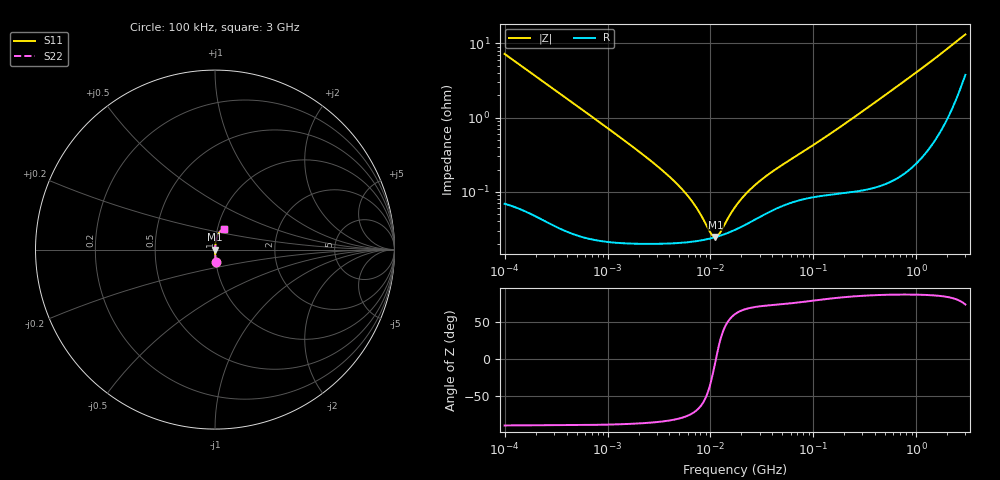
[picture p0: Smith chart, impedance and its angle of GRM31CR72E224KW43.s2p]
!Murata Part Number: GRM31CR72E224KW43
!These Parameters are Measured in Series Mode Connection
!Data Generated on Mar 30, 2021
!  o--ll--o
!Port1  Port2
!  o------o
!Operation Temp=25[degC], DC Bias Voltage=0[V]
!Freq. Start=100[kHz] Stop=3[GHz] 401[Steps]
# Hz S RI R 50
!Freq.(Hz) S11(Real) S11(Imag) S21(Real) S21(Imag) S12(Real) S12(Imag) S22(Real) S22(Imag)
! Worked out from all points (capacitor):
!   401 points, 100 kHz to 3 GHz, reference 50 ohm
!   read as one part in series: C = 221 nF near 105.3 kHz
!   lowest |Z| = 24.6 mohm at 11.18 MHz (marker M1)
!   series resonance near 11.3 MHz, so ESL is about 900 pH
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100000  0.00583 -0.0715  0.9942 0.0715  0.9942 0.0715  0.00583 -0.0715
216663  0.00155 -0.0333  0.9984 0.0333  0.9984 0.0333  0.00155 -0.0333
562235  0.000413 -0.0129  0.9996 0.0129  0.9996 0.0129  0.000413 -0.0129
1659646  0.000219 -0.00429  0.9998 0.00429  0.9998 0.00429  0.000219 -0.00429
3161081  0.000204 -0.00212  0.9998 0.00212  0.9998 0.00212  0.000204 -0.00212
4534557  0.000205 -0.00134  0.9998 0.00134  0.9998 0.00134  0.000205 -0.00134
6020821  0.00021 -0.00086  0.9998 0.00086  0.9998 0.00086  0.00021 -0.00086
7592607  0.000219 -0.00052  0.9998 0.00052  0.9998 0.00052  0.000219 -0.00052
1.008119e7  0.000237 -0.000144  0.9998 0.000144  0.9998 0.000144  0.000237 -0.000144
1.061445e7  0.000241 -7.87e-05  0.9998 7.87e-05  0.9998 7.87e-05  0.000241 -7.87e-05
1.117591e7  0.000246 -1.35e-05  0.9998 1.35e-05  0.9998 1.35e-05  0.000246 -1.35e-05
1.176708e7  0.000251 5.14e-05  0.9997 -5.14e-05  0.9997 -5.14e-05  0.000251 5.14e-05
1.238951e7  0.000257 0.000116  0.9997 -0.000116  0.9997 -0.000116  0.000257 0.000116
1.522638e7  0.000285 0.000376  0.9997 -0.000376  0.9997 -0.000376  0.000285 0.000376
1.77727e7  0.000313 0.000575  0.9997 -0.000575  0.9997 -0.000575  0.000313 0.000575
2.299754e7  0.000375 0.000923  0.9996 -0.000923  0.9996 -0.000923  0.000375 0.000923
3.215051e7  0.000483 0.00142  0.9995 -0.00142  0.9995 -0.00142  0.000483 0.00142
4.611977e7  0.000619 0.00206  0.9994 -0.00206  0.9994 -0.00206  0.000619 0.00206
9.738194e7  0.000857 0.00409  0.9991 -0.00409  0.9991 -0.00409  0.000857 0.00409
5.475153e8  0.00182 0.022  0.9982 -0.022  0.9982 -0.022  0.00182 0.022
1.746113e9  0.0118 0.0712  0.9882 -0.0712  0.9882 -0.0712  0.0118 0.0712
3e9  0.0503 0.1154  0.9497 -0.1154  0.9497 -0.1154  0.0503 0.1154
